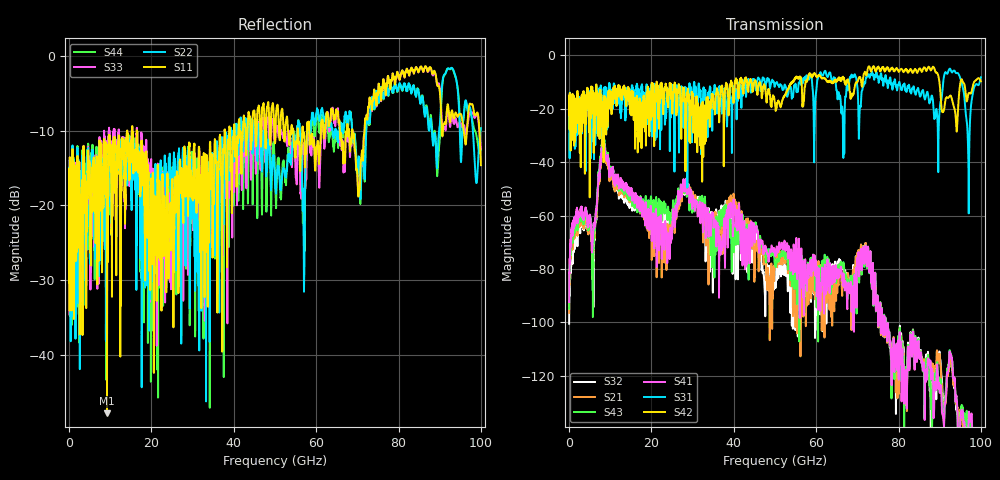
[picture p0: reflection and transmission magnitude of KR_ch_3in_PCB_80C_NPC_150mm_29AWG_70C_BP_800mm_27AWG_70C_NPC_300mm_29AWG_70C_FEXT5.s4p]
# GHz S RI R 45
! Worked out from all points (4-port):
!   4000 points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, 25 MHz to 100 GHz, reference 45 ohm
!   strongest paths, dB at 25 MHz, 25.02 GHz, 50.02 GHz, 75.03 GHz, 100 GHz:
!     S42: -20.7, -17.7, -18.0, -4.4, -9.7
!     S31: -20.7, -11.5, -11.2, -8.1, -8.3
!     S41: -92.4, -66.3, -75.2, -94.1, -159.8
!     S43: -95.0, -58.4, -78.9, -94.0, -173.0
!     S21: -96.5, -62.7, -75.5, -94.2, -169.1
!     S32: -100.5, -62.4, -81.9, -94.3, -179.4
!   lowest |S11| = -47.8 dB at 9.225 GHz (marker M1), VSWR 1.01, Z = 45.1 + j0.337 ohm
!   |S11| at or under -10 dB: start of sweep to 14.12 GHz; 16.48 GHz to 37.76 GHz (21.29 GHz wide, 78.5 % of centre); 68.85 GHz to 71.75 GHz (2.901 GHz wide, 4.13 % of centre) (the widest 3 of 31)
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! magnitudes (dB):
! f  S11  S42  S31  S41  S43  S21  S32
! 25 MHz  -16.4  -20.7  -20.7  -92.4  -95.0  -96.5  -100.5
! 9.225 GHz  -47.8  -26.2  -24.3  -38.6  -37.4  -39.9  -38.6
! 24.05 GHz  -21.8  -18.3  -15.5  -68.3  -56.7  -65.3  -60.8
! 28.05 GHz  -12.3  -17.5  -12.3  -49.9  -50.7  -50.5  -51.5
! 92.55 GHz  -8.9  -15.1  -5.1  -111.7  -111.3  -113.2  -112.8
! 96.92 GHz  -7.7  -14.7  -36.8  -141.2  -142.4  -146.2  -151.6
! 100 GHz  -14.6  -9.7  -8.3  -159.8  -173.0  -169.1  -179.4
